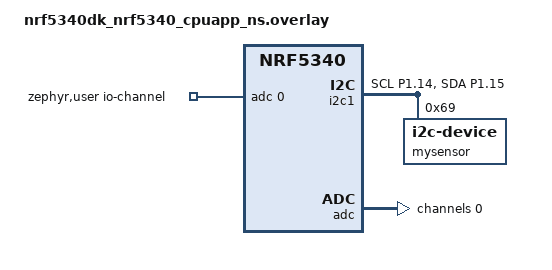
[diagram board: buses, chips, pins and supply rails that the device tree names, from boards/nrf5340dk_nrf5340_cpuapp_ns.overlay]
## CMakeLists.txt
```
#
# Copyright (c) 2018 Nordic Semiconductor
#
# SPDX-License-Identifier: LicenseRef-Nordic-5-Clause
#
cmake_minimum_required(VERSION 3.20.0)

find_package(Zephyr REQUIRED HINTS $ENV{ZEPHYR_BASE})
project(ble_lesson1_excercise1)

# NORDIC SDK APP START
target_sources(app PRIVATE
  src/main.c
  src/icm_20948.c
  src/ds18b20_1wire.c
  src/tds_sensor_adc.c
)

# NORDIC SDK APP END
```

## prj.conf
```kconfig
#
# Copyright (c) 2018 Nordic Semiconductor
#
# SPDX-License-Identifier: LicenseRef-Nordic-5-Clause
# Enable I2C
CONFIG_I2C=y
CONFIG_TFM_SECURE_UART=n
CONFIG_TFM_LOG_LEVEL_SILENCE=y
# Enabling Floating Point
CONFIG_CBPRINTF_FP_SUPPORT=y

CONFIG_NCS_SAMPLES_DEFAULTS=y
CONFIG_BT=n
CONFIG_GPIO=y
# Enabling UART 
CONFIG_SERIAL=y
CONFIG_UART_ASYNC_API=y

#Enabling debug options
CONFIG_DEBUG_OPTIMIZATIONS=y
CONFIG_DEBUG_THREAD_INFO=y

#Enabling ADC for TDS sensor
CONFIG_ADC=y
```

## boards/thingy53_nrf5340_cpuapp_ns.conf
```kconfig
#
# Copyright (c) 2021 Nordic Semiconductor ASA
#
# SPDX-License-Identifier: LicenseRef-Nordic-5-Clause
#
################################################################################
# Application overlay - Thingy:53 DFU

CONFIG_NCS_SAMPLE_MCUMGR_BT_OTA_DFU=n

CONFIG_SYSTEM_WORKQUEUE_STACK_SIZE=4096

# Use deferred logging
CONFIG_NCS_SAMPLES_DEFAULTS=n
CONFIG_LOG=y
CONFIG_ASSERT=y
CONFIG_ASSERT_NO_COND_INFO=y
CONFIG_ASSERT_NO_MSG_INFO=y
CONFIG_HW_STACK_PROTECTION=y
```

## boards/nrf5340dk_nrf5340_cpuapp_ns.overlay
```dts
/* Step 5.2 Put an overlay content here */
&i2c1 {
    status = "okay";
    pinctrl-0 = <&i2c1_default>;
	pinctrl-1 = <&i2c1_sleep>;
    pinctrl-names = "default", "sleep";
    mysensor: mysensor@69{
        compatible = "i2c-device";
        status = "okay";
        reg = < 0x69 >;
    };
};

&pinctrl {
	// I2C1
	/omit-if-no-ref/ i2c1_default: i2c1_default {
		group1  {
			psels = <NRF_PSEL(TWIM_SCL, 1, 14)>,
					<NRF_PSEL(TWIM_SDA, 1, 15)>;
		};
	};

	/omit-if-no-ref/ i2c1_sleep: i2c1_sleep {
		group1  {
			psels = <NRF_PSEL(TWIM_SCL, 1, 14)>,
					<NRF_PSEL(TWIM_SDA, 1, 15)>;
			low-power-enable;
		};
	};

};

//ADC

/ {
	zephyr,user {
		io-channels = <&adc 0>;
	};
};

&adc {
    status = "okay";
    #address-cells = <1>;
    #size-cells = <0>;

    channel@0 {
        reg = <0>;
        zephyr,gain = "ADC_GAIN_1_4"; 
        zephyr,reference = "ADC_REF_INTERNAL";
        zephyr,acquisition-time = <ADC_ACQ_TIME_DEFAULT>;
        zephyr,input-positive = <NRF_SAADC_AIN0>;
        zephyr,resolution = <12>;
    };
};
```

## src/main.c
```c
/*
 * Copyright (c) 2018 Nordic Semiconductor ASA
 *
 * SPDX-License-Identifier: LicenseRef-Nordic-5-Clause
 */
#include <zephyr/device.h>
#include <zephyr/drivers/gpio.h>
#include <zephyr/kernel.h>
#include <zephyr/types.h>
#include <stddef.h>
#include <string.h>
#include <errno.h>
#include <zephyr/sys/printk.h>
#include <zephyr/sys/byteorder.h>
#include "icm_20948.h"
#include "ds18b20_1wire.h"
#include <zephyr/drivers/uart.h>
#include <zephyr/drivers/adc.h>
#include "tds_sensor_adc.h"

//Private defines section
#define SLEEP_TIME_MS 1000
#define I2C_NODE DT_NODELABEL(mysensor)

//DeviceTree variables section
static const struct i2c_dt_spec dev_i2c = I2C_DT_SPEC_GET(I2C_NODE);
static const struct adc_dt_spec adc_channel = ADC_DT_SPEC_GET(DT_PATH(zephyr_user));

//Data variables section
icm_20948_data imu_data;
int16_t adc_buffer;
struct adc_sequence sequence = {
	.buffer = &adc_buffer,
	.buffer_size = sizeof(adc_buffer)
};

int main(void)
{
	
	i2c_bus_start_check(&dev_i2c);

	// if (!device_is_ready(uart))
	// {
	// 	printk("UART: %c not ready", (int)uart->name);
	// 	return -1;
	// }
	icm_20948_init(dev_i2c);

	StartingADC(&adc_channel, &sequence);

	for (;;) {

		PrintRawAndMilivoltsADCValue(&adc_channel, &sequence);
		printk("Ready...\n\r");
		k_msleep(SLEEP_TIME_MS);
	}
}
```

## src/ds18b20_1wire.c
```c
#include <zephyr/drivers/uart.h>
#include <zephyr/sys/printk.h>
#include "ds18b20_1wire.h"


const struct uart_config uart_cfg_reset = {
		.baudrate = 9600,
		.parity = UART_CFG_PARITY_NONE,
		.stop_bits = UART_CFG_STOP_BITS_1,
		.data_bits = UART_CFG_DATA_BITS_8,
		.flow_ctrl = UART_CFG_FLOW_CTRL_NONE
	};

const struct uart_config uart_cfg_data = {
		.baudrate = 115200,
		.parity = UART_CFG_PARITY_NONE,
		.stop_bits = UART_CFG_STOP_BITS_1,
		.data_bits = UART_CFG_DATA_BITS_8,
		.flow_ctrl = UART_CFG_FLOW_CTRL_NONE
	};

int8_t DS18B20_Start(const struct device *uart)
{
	uint8_t data = 0xF0; //Reset condition
	uart_configure(uart, &uart_cfg_reset); //9600 data transmission
	uart_tx(uart, &data, 1, 1000);
	if(uart_rx_enable(uart, &data, 1, 1000) != 0)
	{
		return -1; // API not enabled or RX already in progress or other negative errno value in case of failure.
	}
	uart_configure(uart, &uart_cfg_data); //115200 data transmission
	if(data == 0xF0)
	{
		return -2; //no device detected
	}
	return 1;
}
void DS18B20_Write(uint8_t data, const struct device *uart)
{
	uint8_t buffer[8];
	//preparing buffer for UART transmission, each bit from data variable is put to buffer when each index represents each bit.
	for(uint8_t i = 0; i<8; i++)
	{
		if((data & (1<<i)) != 0)
		{
			buffer[i] = 1; //set HIGH
		}
		else
		{
			buffer[i] = 0; //set LOW 
		}
	}
	uart_tx(uart, buffer, 8, 1000);
}
int8_t UartConfigureResetBaudRate(const struct device *uart)
{
    int8_t err = uart_configure(uart, &uart_cfg_reset);
    if(err == errno)
    {
        printk("Failure");
        return errno;
    }
    if(err == ENOSYS)
    {
        printk("configuration is not supported by device or driver does not support setting configuration in runtime");
        return ENOSYS;
    }
    if(err == ENOTSUP)
    {
        printk("API is not enabled");
        return ENOTSUP;
    }
    return 0;
} 

int8_t UartConfigureDataBaudRate(const struct device *uart)
{
    int8_t err = uart_configure(uart, &uart_cfg_data);
    if(err == errno)
    {
        printk("Failure");
        return errno;
    }
    if(err == ENOSYS)
    {
        printk("configuration is not supported by device or driver does not support setting configuration in runtime");
        return ENOSYS;
    }
    if(err == ENOTSUP)
    {
        printk("API is not enabled");
        return ENOTSUP;
    }
    return 0;
} 
```

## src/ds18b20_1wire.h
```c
#include <zephyr/drivers/uart.h>

int8_t DS18B20_Start(const struct device *uart);
void DS18B20_Write(uint8_t data, const struct device *uart);
int8_t UartConfigureResetBaudRate(const struct device *uart);
int8_t UartConfigureDataBaudRate(const struct device *uart);
```

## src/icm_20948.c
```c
#include <zephyr/sys/printk.h>
#include "icm_20948.h"



uint8_t id = 0;
uint8_t regs[] = {WHO_AM_I_REGISTER};

void icm_20948_init(const struct i2c_dt_spec dev_i2c)
{

	icm_20948_i2c_write_reg(_b0, dev_i2c, PWR_MGMT_1, 0xC1);  //IMU reset, page 37

	k_msleep(100);

	icm_20948_i2c_write_reg(_b0, dev_i2c, PWR_MGMT_1, 0x01);  //Exit from sleep mode, selecting clock 37, page 37
	icm_20948_i2c_write_reg(_b2, dev_i2c, ODR_ALIGN_EN, 0x01); //Output data rate start time aligment, page 63

	//Gyroscope configuration 
	icm_20948_i2c_write_reg(_b2, dev_i2c, GYRO_SMPLRT_DIV, 0x00); //Sample rate devider set to 0, page 59
	icm_20948_i2c_write_reg(_b2, dev_i2c, GYRO_CONFIG_1, 0x05); //Enable gyro DLPF and set +- 1000 dps 

	//Accelerometer configuration
	icm_20948_i2c_write_reg(_b2, dev_i2c, ACCEL_SMPLRT_DIV_1, 0x00); //Sample rate devider = 0, page 63
	icm_20948_i2c_write_reg(_b2, dev_i2c, ACCEL_SMPLRT_DIV_2, 0x00);
	icm_20948_i2c_write_reg(_b2, dev_i2c, ACCEL_CONFIG, 0x03); //Enable acc DLPF and set +- 4g

	select_register_bank(dev_i2c, _b0);
}

void icm_20948_read_data(const struct i2c_dt_spec dev_i2c, icm_20948_data *data)
{
	uint8_t data_rx[12];

	//Reading 12 bytes from data registers
	int i2c_write_error = i2c_burst_read_dt(&dev_i2c, ACCEL_XOUT_H, data_rx, 12);
	if(i2c_write_error != 0)
	{
		printk("Failed to read to register 0x%02X\r\n", ACCEL_XOUT_H);
	}
	//Encapsulating data
	data->x_accel = ((int16_t)data_rx[0] << 8) + data_rx[1];
	data->y_accel = ((int16_t)data_rx[2] << 8) + data_rx[3];
	data->z_accel = ((int16_t)data_rx[4] << 8) + data_rx[5];

	data->x_gyro  = ((int16_t)data_rx[6] << 8) + data_rx[7];
	data->y_gyro  = ((int16_t)data_rx[8] << 8) + data_rx[9];
	data->z_gyro  = ((int16_t)data_rx[10] << 8) + data_rx[11];

	printk("Accelerometer: %d, %d, %d \r\n", data-> x_accel, data-> y_accel, data -> z_accel);
	printk("Gyroscope: %d, %d, %d \r\n", data-> x_gyro, data-> y_gyro, data -> z_gyro);
}

void icm_20948_i2c_write_reg(user_bank_select bank_number, const struct i2c_dt_spec dev_i2c, uint8_t reg, uint8_t data)
{
	select_register_bank(dev_i2c, bank_number);
	k_msleep(100);
	
	int i2c_write_error = i2c_burst_write_dt(&dev_i2c, reg, &data, 1);
	if(i2c_write_error != 0)
	{
		printk("Failed to write to register 0x%02X\r\n", reg);
	}
}

void select_register_bank(const struct i2c_dt_spec dev_i2c, user_bank_select bank_register_number)
{
	int bank_num_write_error = i2c_burst_write_dt(&dev_i2c, REG_BANK_SEL, &bank_register_number, 1);
	if(bank_num_write_error != 0)
	{
		printk("Failed to write to register 0x%02X\r\n", REG_BANK_SEL);
	}
}
int8_t i2c_bus_start_check(const struct i2c_dt_spec *dev_i2c)
{
	if (!device_is_ready(dev_i2c->bus)) {
	printk("I2C bus %s is not ready!\n\r",dev_i2c->bus->name);
	return -1;
	}
	int ret = i2c_write_read_dt(dev_i2c, regs, 1, &id, 1);

	if(ret != 0) {
		printk("Failed to read register %x \n", regs[0]);
		return -1;
	}

	if (id != CHIP_ID) {
		printk("Invalid chip id! 0x%02X \n", id);
		return -1;
	}
	return 0;
}
```

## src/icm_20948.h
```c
#include <zephyr/kernel.h>
#include <zephyr/device.h>
#include <zephyr/devicetree.h>
#include <zephyr/drivers/i2c.h>
#include <zephyr/sys/printk.h>

#define ICM_20948_I2C_ADDRESS  0x69
#define ACCEL_XOUT_H           0x2D
#define WHO_AM_I_REGISTER      0x00
#define CHIP_ID                0xEA
#define REG_BANK_SEL           0x7F
#define PWR_MGMT_1             0x06
#define ODR_ALIGN_EN		   0x09
#define GYRO_SMPLRT_DIV		   0x00
#define GYRO_CONFIG_1          0x01
#define ACCEL_SMPLRT_DIV_1     0x10
#define ACCEL_SMPLRT_DIV_2     0x11
#define ACCEL_CONFIG		   0x14

typedef enum
{
	_b0 = 0,
	_b1 = 1 << 4,
	_b2 = 2 << 4,
	_b3 = 3 << 4
} user_bank_select;

typedef struct
{
	int16_t x_accel;
	int16_t y_accel;
	int16_t z_accel;
	int16_t x_gyro;
	int16_t y_gyro;
	int16_t z_gyro;
} icm_20948_data;


void icm_20948_init(const struct i2c_dt_spec dev_i2c);
void select_register_bank(const struct i2c_dt_spec dev_i2c, user_bank_select bank_register_number);
void icm_20948_i2c_write_reg(user_bank_select bank_number, const struct i2c_dt_spec dev_i2c, uint8_t register, uint8_t data);
void icm_20948_read_data(const struct i2c_dt_spec dev_i2c, icm_20948_data *data);
int8_t i2c_bus_start_check(const struct i2c_dt_spec *dev_i2c);
```

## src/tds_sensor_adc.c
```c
#include <zephyr/sys/printk.h>
#include "tds_sensor_adc.h"




void StartingADC(const struct adc_dt_spec *adc_channel, struct adc_sequence *sequence)
{
    if(IsADCReady(adc_channel) != 0)
    {
        return;
    }
    if(ADCChannelSetup(adc_channel) != 0)
    {
        return;
    }
    if(ADCSequenceInit(adc_channel, sequence) != 0)
    {
        return;
    }
}

void PrintRawAndMilivoltsADCValue(const struct adc_dt_spec *adc_channel, struct adc_sequence *sequence)
{
    int32_t val_raw; 
    int32_t val_mv;

    if (ReadADCValue(adc_channel, sequence) != 0) {
        return;
    }

    val_raw = *(int16_t *)sequence->buffer;

    printk("ADC Reading: channel[%d] raw: %d\r\n", adc_channel->channel_id, val_raw);

    val_mv = val_raw;

    if(ADCRawToMilivolts(adc_channel, &val_mv) != 0)
    {
        return;
    }
}

int8_t IsADCReady(const struct adc_dt_spec *adc_channel)
{
    if(!adc_is_ready_dt(adc_channel))
    {
        printk("ADC controller devivce  not ready\r\n");
        return -1;
    }
    return 0;
}
int8_t ADCChannelSetup(const struct adc_dt_spec *adc_channel)
{
    
    uint8_t err = adc_channel_setup_dt(adc_channel);
    if(err < 0)
    {
        printk("ADC controller devivce  not ready\r\n");
        return err;
    }
    return 0;
}
int8_t ADCSequenceInit(const struct adc_dt_spec *adc_channel, struct adc_sequence *sequence)
{
    uint8_t err = adc_sequence_init_dt(adc_channel, sequence);
    if(err < 0)
    {
        printk("Could not initalize sequnce\r\n");
        return err;
    }
    return 0;
}

int8_t ReadADCValue(const struct adc_dt_spec *adc_channel, struct adc_sequence *sequence)
{
    uint8_t err = adc_read(adc_channel->dev, sequence);
    if (err < 0) {
        printk("Could not read value\r\n");
	}
    return 0;
}
int8_t ADCRawToMilivolts(const struct adc_dt_spec *adc_channel, int *val_mv)
{
    int8_t err = adc_raw_to_millivolts_dt(adc_channel, val_mv);
    if(err < 0)
    {
        printk("Value in mV is not avaiable\r\n");
        return err;
    }
    else
    {
        printk("ADC Reading: channel[%d] %d[mV]\n\r",adc_channel->channel_id, *(val_mv));
        return 0;
    }
}
```

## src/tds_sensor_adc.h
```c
#include <zephyr/drivers/adc.h>

int8_t IsADCReady(const struct adc_dt_spec *adc_channel);
int8_t ADCChannelSetup(const struct adc_dt_spec *adc_channel);
int8_t ADCRawToMilivolts(const struct adc_dt_spec *adc_channel, int *val_mv);
void StartingADC(const struct adc_dt_spec *adc_channel, struct adc_sequence *sequence);
void PrintRawAndMilivoltsADCValue(const struct adc_dt_spec *adc_channel, struct adc_sequence *sequence);
int8_t ADCSequenceInit(const struct adc_dt_spec *adc_channel, struct adc_sequence *sequence);
int8_t ReadADCValue(const struct adc_dt_spec *adc_channel, struct adc_sequence *sequence);
```
